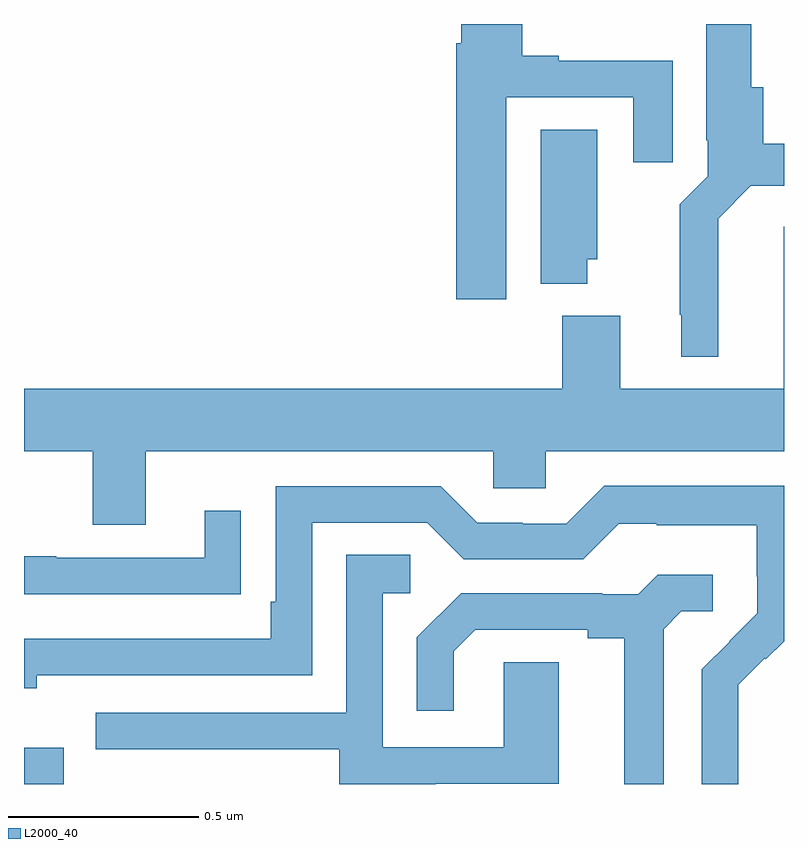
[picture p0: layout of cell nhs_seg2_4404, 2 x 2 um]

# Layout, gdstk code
import gdstk
lib = gdstk.Library(unit=1e-6, precision=1e-09)
def R(c, l, rs):  # rectangles x0, y0, x1, y1
    for r in rs: c.add(gdstk.rectangle(r[:2], r[2:], *l))
def P(c, l, *ps):  # polygons
    for p in ps: c.add(gdstk.Polygon(p, *l))
L2000_40 = (2000, 40)

nhs_seg2_4404 = lib.new_cell('nhs_seg2_4404')
R(nhs_seg2_4404, L2000_40, [(166,606.8,166.104,606.895)])
P(nhs_seg2_4404, L2000_40, [(167.269,608.607),(167.603,608.607),(167.603,608.436),(167.707,608.436),(167.707,608.703),(167.407,608.703),(167.407,608.716),(167.311,608.716),(167.311,608.8),(167.15,608.8),(167.15,608.75),(167.138,608.75),(167.138,608.076),(167.269,608.076)],
  [(167.827,608.288),(167.913,608.375),(168,608.375),(168,608.485),(167.945,608.485),(167.945,608.634),(167.914,608.634),(167.914,608.8),(167.795,608.8),(167.795,608.494),(167.799,608.494),(167.799,608.4),(167.725,608.326),(167.725,608.035),(167.729,608.035),(167.729,607.925),(167.827,607.925)],
  [(167.482,608.181),(167.509,608.181),(167.509,608.522),(167.36,608.522),(167.36,608.117),(167.482,608.117)],
  [(166.321,607.676),(167.235,607.676),(167.235,607.578),(167.373,607.578),(167.373,607.676),(168,607.676),(168,608.266),(167.999,608.266),(167.999,607.84),(167.569,607.84),(167.569,608.032),(167.417,608.032),(167.417,607.84),(166,607.84),(166,607.676),(166.181,607.676),(166.181,607.482),(166.321,607.482)],
  [(167.88,606.938),(167.879,606.938),(167.879,607.061),(167.949,607.131),(167.952,607.128),(168,607.176),(168,607.585),(167.527,607.585),(167.427,607.485),(167.312,607.485),(167.312,607.488),(167.193,607.488),(167.097,607.584),(166.662,607.584),(166.662,607.279),(166.649,607.279),(166.649,607.182),(166,607.182),(166,607.052),(166.034,607.052),(166.034,607.086),(166.758,607.086),(166.758,607.488),(167.061,607.488),(167.157,607.392),(167.472,607.392),(167.565,607.485),(167.665,607.485),(167.665,607.481),(167.928,607.481),(167.928,607.347),(167.93,607.347),(167.93,607.25),(167.856,607.176),(167.857,607.175),(167.784,607.102),(167.784,606.8),(167.88,606.8)],
  [(166.469,607.3),(166.571,607.3),(166.571,607.519),(166.475,607.519),(166.475,607.395),(166.085,607.395),(166.085,607.4),(166,607.4),(166,607.299),(166.469,607.299)],
  [(167.083,606.801),(167.407,606.801),(167.407,607.121),(167.262,607.121),(167.262,606.897),(166.944,606.897),(166.944,607.302),(167.017,607.302),(167.017,607.403),(166.848,607.403),(166.848,606.987),(166.189,606.987),(166.189,606.891),(166.829,606.891),(166.829,606.8),(167.083,606.8)],
  [(167.683,607.207),(167.73,607.254),(167.812,607.254),(167.812,607.351),(167.668,607.351),(167.616,607.299),(167.522,607.299),(167.522,607.302),(167.15,607.302),(167.034,607.186),(167.034,606.993),(167.131,606.993),(167.131,607.149),(167.188,607.206),(167.483,607.206),(167.483,607.184),(167.579,607.184),(167.579,606.8),(167.683,606.8)])

lib.write_gds('nhs_seg2_4404.gds')
